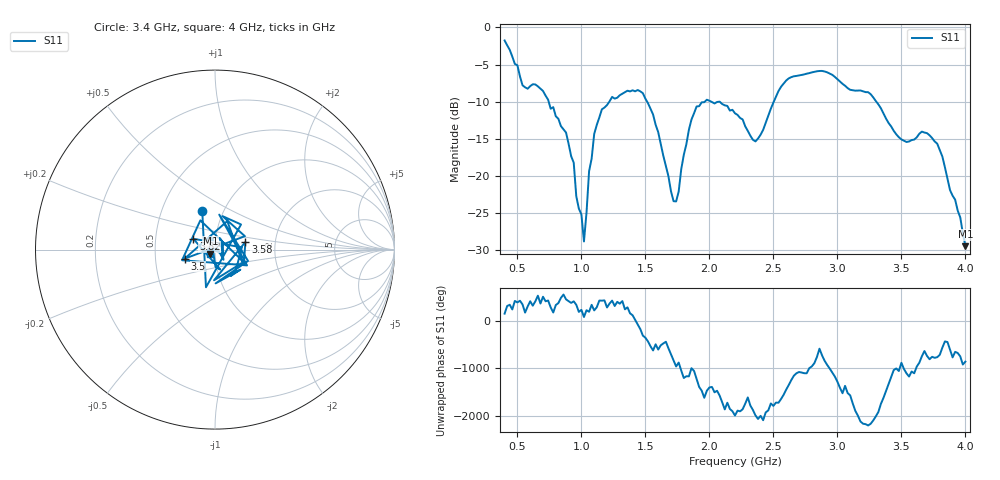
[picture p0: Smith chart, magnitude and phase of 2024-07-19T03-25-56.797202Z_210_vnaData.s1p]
!Created with skrf (http://scikit-rf.org).
# Hz S RI R 50.0
!freq ReS11 ImS11
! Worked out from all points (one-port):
!   181 points, 400 MHz to 4 GHz, reference 50 ohm
!   lowest |S11| = -29.4 dB at 4 GHz (marker M1), VSWR 1.07, Z = 47.5 - j2.09 ohm
!   |S11| at or under -10 dB: 744.5 MHz to 1.218 GHz (473.2 MHz wide, 48.2 % of centre); 1.514 GHz to 1.963 GHz (449.3 MHz wide, 25.8 % of centre); 3.305 GHz to end of sweep (the widest 3 of 5)
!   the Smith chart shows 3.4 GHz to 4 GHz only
!   S11 on the Smith chart (normalised r, x): 3.4 GHz: 0.79, +0.36; 3.5 GHz: 0.71, -0.07; 3.58 GHz: 1.40, +0.12; 3.82 GHz: 0.78, +0.10; 4 GHz: 0.95, -0.04
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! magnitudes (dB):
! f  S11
! 400 MHz  -1.7
! 540 MHz  -7.8
! 700 MHz  -8.5
! 860 MHz  -13.7
! 940 MHz  -18.2
! 960 MHz  -22.7
! 1.02 GHz  -28.8
! 1.06 GHz  -19.3
! 1.1 GHz  -14.3
! 1.3 GHz  -9.1
! 1.48 GHz  -8.8
! 1.6 GHz  -14.1
! 1.72 GHz  -23.4
! 1.76 GHz  -22.1
! 1.84 GHz  -13.8
! 1.9 GHz  -10.6
! 2.2 GHz  -11.6
! 2.36 GHz  -15.3
! 2.66 GHz  -6.6
! 3.1 GHz  -8.4
! 3.26 GHz  -9.0
! 3.4 GHz  -12.9
! 3.5 GHz  -15.1
! 3.56 GHz  -15.3
! 3.58 GHz  -15.2
! 3.7 GHz  -14.2
! 3.82 GHz  -17.4
! 4 GHz  -29.4
